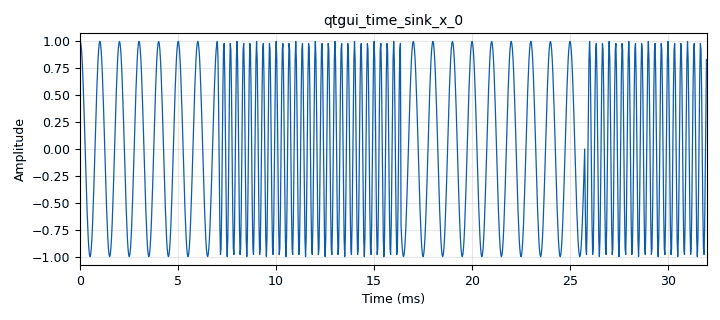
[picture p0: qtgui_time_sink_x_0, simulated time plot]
options:
  parameters:
    author: Matias Gandino
    generate_options: qt_gui
    id: FSK_simulacion
    output_language: python
    title: FSK_simulacion
  states: {}

blocks:
- name: samp_rate
  id: variable
  parameters:
    value: '32000'
  states: {}
- name: analog_const_source_x_0
  id: analog_const_source_x
  parameters:
    const: '-1'
    type: float
  states: {}
- name: analog_sig_source_x_0
  id: analog_sig_source_x
  parameters:
    amp: '1'
    freq: '1000'
    offset: '0'
    phase: '0'
    samp_rate: samp_rate
    type: float
    waveform: analog.GR_COS_WAVE
  states: {}
- name: analog_sig_source_x_0_0
  id: analog_sig_source_x
  parameters:
    amp: '1'
    freq: '3000'
    offset: '0'
    phase: '0'
    samp_rate: samp_rate
    type: float
    waveform: analog.GR_COS_WAVE
  states: {}
- name: blocks_add_const_vxx_0
  id: blocks_add_const_vxx
  parameters:
    const: '-1'
    type: float
  states: {}
- name: blocks_add_xx_0
  id: blocks_add_xx
  parameters:
    type: float
  states: {}
- name: blocks_multiply_xx_0
  id: blocks_multiply_xx
  parameters:
    type: float
  states: {}
- name: blocks_multiply_xx_0_0
  id: blocks_multiply_xx
  parameters:
    type: float
  states: {}
- name: blocks_multiply_xx_0_0_0
  id: blocks_multiply_xx
  parameters:
    type: float
  states: {}
- name: blocks_repeat_0
  id: blocks_repeat
  parameters:
    interp: '100'
    type: float
  states: {}
- name: blocks_throttle2_0
  id: blocks_throttle2
  parameters:
    samples_per_second: samp_rate
    type: float
  states: {}
- name: blocks_vector_source_x_0
  id: blocks_vector_source_x
  parameters:
    repeat: 'True'
    tags: ''
    type: float
    vector: (0, 0, 0, 1, 1, 1, 0, 0, 0, 1, 1, 1)
  states: {}
- name: qtgui_time_sink_x_0
  id: qtgui_time_sink_x
  parameters:
    size: '1024'
    srate: samp_rate
    type: float
  states: {}

connections:
- [analog_const_source_x_0, '0', blocks_multiply_xx_0_0, '1']
- [analog_sig_source_x_0, '0', blocks_multiply_xx_0, '0']
- [analog_sig_source_x_0_0, '0', blocks_multiply_xx_0_0_0, '1']
- [blocks_add_const_vxx_0, '0', blocks_multiply_xx_0_0, '0']
- [blocks_add_xx_0, '0', blocks_throttle2_0, '0']
- [blocks_multiply_xx_0, '0', blocks_add_xx_0, '0']
- [blocks_multiply_xx_0_0, '0', blocks_multiply_xx_0_0_0, '0']
- [blocks_multiply_xx_0_0_0, '0', blocks_add_xx_0, '1']
- [blocks_repeat_0, '0', blocks_add_const_vxx_0, '0']
- [blocks_repeat_0, '0', blocks_multiply_xx_0, '1']
- [blocks_throttle2_0, '0', qtgui_time_sink_x_0, '0']
- [blocks_vector_source_x_0, '0', blocks_repeat_0, '0']

metadata:
  file_format: 1
  grc_version: 3.10.12.0
